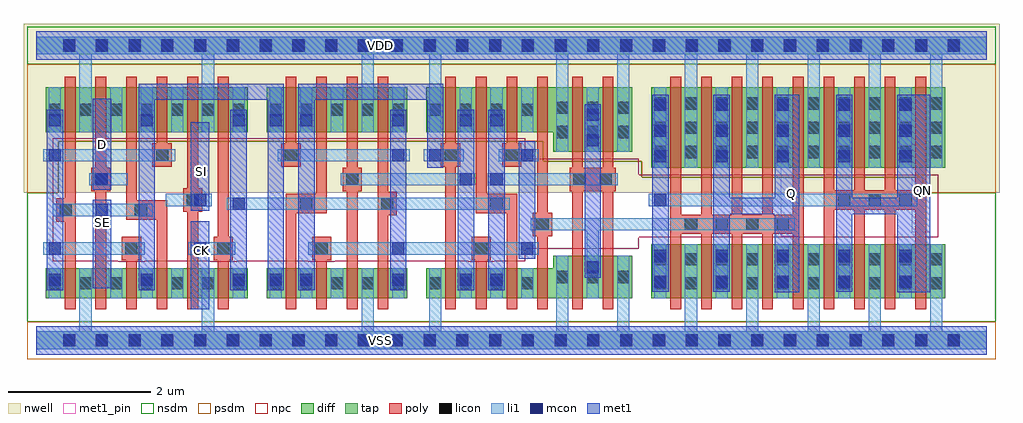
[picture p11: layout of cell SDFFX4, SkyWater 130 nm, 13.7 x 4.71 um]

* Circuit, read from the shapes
.subckt SDFFX4 CK D Q QN SE SI VDD VSS
XM1 VSS SE n1 VSS sky130_fd_pr__nfet_01v8 w=0.425 l=0.15
XM2 n2 D VSS VSS sky130_fd_pr__nfet_01v8 w=0.425 l=0.15
XM3 n3 n1 n2 VSS sky130_fd_pr__nfet_01v8 w=0.425 l=0.15
XM4 n4 SE n3 VSS sky130_fd_pr__nfet_01v8 w=0.425 l=0.15
XM5 VSS SI n4 VSS sky130_fd_pr__nfet_01v8 w=0.425 l=0.15
XM6 n5 CK VSS VSS sky130_fd_pr__nfet_01v8 w=0.425 l=0.15
XM7 n6 n5 n3 VSS sky130_fd_pr__nfet_01v8 w=0.425 l=0.15
XM8 n7 n8 n6 VSS sky130_fd_pr__nfet_01v8 w=0.425 l=0.15
XM9 VSS n9 n7 VSS sky130_fd_pr__nfet_01v8 w=0.425 l=0.15
XM10 n8 n5 VSS VSS sky130_fd_pr__nfet_01v8 w=0.425 l=0.15
XM11 n9 n6 VSS VSS sky130_fd_pr__nfet_01v8 w=0.425 l=0.15
XM12 n10 n8 n9 VSS sky130_fd_pr__nfet_01v8 w=0.425 l=0.15
XM13 n11 n5 n10 VSS sky130_fd_pr__nfet_01v8 w=0.425 l=0.15
XM14 VSS n12 n11 VSS sky130_fd_pr__nfet_01v8 w=0.425 l=0.15
XM15 n12 n10 VSS VSS sky130_fd_pr__nfet_01v8 w=0.6 l=0.15 m=2
XM16 VSS n12 n13 VSS sky130_fd_pr__nfet_01v8 w=0.76 l=0.15
XM17 Q n12 VSS VSS sky130_fd_pr__nfet_01v8 w=0.76 l=0.15 m=4
XM18 QN n13 VSS VSS sky130_fd_pr__nfet_01v8 w=0.76 l=0.15 m=4
XM19 VDD SE n1 VDD sky130_fd_pr__pfet_01v8 w=0.625 l=0.15
XM20 n14 D VDD VDD sky130_fd_pr__pfet_01v8 w=0.625 l=0.15
XM21 n3 SE n14 VDD sky130_fd_pr__pfet_01v8 w=0.625 l=0.15
XM22 n15 n1 n3 VDD sky130_fd_pr__pfet_01v8 w=0.625 l=0.15
XM23 VDD SI n15 VDD sky130_fd_pr__pfet_01v8 w=0.625 l=0.15
XM24 n5 CK VDD VDD sky130_fd_pr__pfet_01v8 w=0.625 l=0.15
XM25 n6 n8 n3 VDD sky130_fd_pr__pfet_01v8 w=0.625 l=0.15
XM26 n16 n5 n6 VDD sky130_fd_pr__pfet_01v8 w=0.625 l=0.15
XM27 VDD n9 n16 VDD sky130_fd_pr__pfet_01v8 w=0.625 l=0.15
XM28 n8 n5 VDD VDD sky130_fd_pr__pfet_01v8 w=0.625 l=0.15
XM29 n9 n6 VDD VDD sky130_fd_pr__pfet_01v8 w=0.625 l=0.15
XM30 n10 n5 n9 VDD sky130_fd_pr__pfet_01v8 w=0.625 l=0.15
XM31 n17 n8 n10 VDD sky130_fd_pr__pfet_01v8 w=0.625 l=0.15
XM32 VDD n12 n17 VDD sky130_fd_pr__pfet_01v8 w=0.625 l=0.15
XM33 n12 n10 VDD VDD sky130_fd_pr__pfet_01v8 w=0.905 l=0.15 m=2
XM34 VDD n12 n13 VDD sky130_fd_pr__pfet_01v8 w=1.13 l=0.15
XM35 Q n12 VDD VDD sky130_fd_pr__pfet_01v8 w=1.13 l=0.15 m=4
XM36 QN n13 VDD VDD sky130_fd_pr__pfet_01v8 w=1.13 l=0.15 m=4
.ends

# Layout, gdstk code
from math import pi, radians
import gdstk
lib = gdstk.Library(unit=1e-6, precision=1e-09)
def R(c, l, rs):  # rectangles x0, y0, x1, y1
    for r in rs: c.add(gdstk.rectangle(r[:2], r[2:], *l))
def A(c, l, x, y, w, h, nx, ny, dx, dy):  # array of equal rectangles
    R(c, l, [(x+i*dx, y+j*dy, x+i*dx+w, y+j*dy+h) for i in range(nx) for j in range(ny)])
def P(c, l, *ps):  # polygons
    for p in ps: c.add(gdstk.Polygon(p, *l))
nwell = (64, 20)
diff = (65, 20)
tap = (65, 44)
poly = (66, 20)
licon = (66, 44)
li1 = (67, 20)
mcon = (67, 44)
met1_pin = (68, 16)
met1 = (68, 20)
nsdm = (93, 44)
psdm = (94, 20)
npc = (95, 20)

pyl1con_c_cdns_758728262 = lib.new_cell('PYL1CON_C_CDNS_758728262102')
R(pyl1con_c_cdns_758728262, poly, [(-0.135,-0.165,0.135,0.165)])
R(pyl1con_c_cdns_758728262, licon, [(-0.085,-0.085,0.085,0.085)])
R(pyl1con_c_cdns_758728262, npc, [(-0.185,-0.185,0.185,0.185)])

l1m1_c_cdns_758728262101 = lib.new_cell('L1M1_C_CDNS_7587282621012')
R(l1m1_c_cdns_758728262101, li1, [(-0.085,-0.525,0.085,0.525)])
A(l1m1_c_cdns_758728262101, mcon, -0.085, -0.445, 0.17, 0.17, 1, 3, 0, 0.36)
R(l1m1_c_cdns_758728262101, met1, [(-0.115,-0.505,0.115,0.505)])

c_l1m1_c_cdns_758728262101 = lib.new_cell('L1M1_C_CDNS_758728262101')
R(c_l1m1_c_cdns_758728262101, li1, [(-0.085,-0.165,0.085,0.165)])
R(c_l1m1_c_cdns_758728262101, mcon, [(-0.085,-0.085,0.085,0.085)])
R(c_l1m1_c_cdns_758728262101, met1, [(-0.115,-0.145,0.115,0.145)])

l1m1_c_cdns_758728262104 = lib.new_cell('L1M1_C_CDNS_758728262104')
R(l1m1_c_cdns_758728262104, li1, [(-0.085,-0.345,0.085,0.345)])
R(l1m1_c_cdns_758728262104, mcon, [(-0.085,-0.265,0.085,-0.095), (-0.085,0.095,0.085,0.265)])
R(l1m1_c_cdns_758728262104, met1, [(-0.115,-0.325,0.115,0.325)])

l1m1_c_cdns_758728262100 = lib.new_cell('L1M1_C_CDNS_758728262100')
R(l1m1_c_cdns_758728262100, li1, [(-0.165,-0.085,0.165,0.085)])
R(l1m1_c_cdns_758728262100, mcon, [(-0.085,-0.085,0.085,0.085)])
R(l1m1_c_cdns_758728262100, met1, [(-0.115,-0.145,0.115,0.145)])

licondiff_c_cdns_7587282 = lib.new_cell('LICONDIFF_C_CDNS_7587282621010')
R(licondiff_c_cdns_7587282, diff, [(-0.125,-0.145,0.125,0.145)])
R(licondiff_c_cdns_7587282, licon, [(-0.085,-0.085,0.085,0.085), (-0.085,-0.085,0.085,0.085)])

c_pyl1con_c_cdns_758728262 = lib.new_cell('PYL1CON_C_CDNS_7587282621017')
R(c_pyl1con_c_cdns_758728262, poly, [(-0.135,-0.29,0.135,0.29)])
R(c_pyl1con_c_cdns_758728262, licon, [(-0.085,-0.085,0.085,0.085)])
R(c_pyl1con_c_cdns_758728262, npc, [(-0.185,-0.185,0.185,0.185)])

c_l1m1_c_cdns_758728262101_ = lib.new_cell('L1M1_C_CDNS_7587282621019')
R(c_l1m1_c_cdns_758728262101_, li1, [(-0.125,-0.085,0.125,0.085)])
R(c_l1m1_c_cdns_758728262101_, mcon, [(-0.085,-0.085,0.085,0.085)])
R(c_l1m1_c_cdns_758728262101_, met1, [(-0.115,-0.145,0.115,0.145)])

c_pyl1con_c_cdns_758728262_ = lib.new_cell('PYL1CON_C_CDNS_7587282621020')
R(c_pyl1con_c_cdns_758728262_, poly, [(-0.135,-0.37,0.135,0.21)])
R(c_pyl1con_c_cdns_758728262_, licon, [(-0.085,-0.085,0.085,0.085)])
R(c_pyl1con_c_cdns_758728262_, npc, [(-0.185,-0.185,0.185,0.185)])

sdffx4 = lib.new_cell('SDFFX4')
R(sdffx4, nwell, [(-0.18,2.07,13.52,4.445)])
R(sdffx4, diff, [(0.135,0.59,2.965,1.015), (3.235,0.59,5.205,1.015), (8.635,0.59,12.755,1.35), (8.635,2.42,12.755,3.55), (0.135,2.925,2.965,3.55), (3.235,2.925,5.205,3.55)])
P(sdffx4, diff, [(8.365,3.55),(5.475,3.55),(5.475,2.925),(7.255,2.925),(7.255,2.645),(8.365,2.645)],
  [(8.365,1.19),(7.255,1.19),(7.255,1.015),(5.475,1.015),(5.475,0.59),(8.365,0.59)])
A(sdffx4, poly, 8.9, 0.44, 0.15, 3.26, 9, 1, 0.43, 0)
R(sdffx4, poly, [(0.4,0.44,0.55,3.7), (0.83,0.44,0.98,3.7), (1.26,0.44,1.41,1.165), (2.12,0.44,2.27,3.7), (2.55,0.44,2.7,3.7), (3.93,0.44,4.08,1.165), (4.36,0.44,4.51,3.7), (4.79,0.44,4.94,3.7), (5.74,0.44,5.89,3.7), (6.17,0.44,6.32,1.165), (7.03,0.44,7.18,3.7), (3.5,2.725,3.65,3.7), (6.6,2.725,6.75,3.7), (1.69,2.75,1.84,3.7)])
P(sdffx4, poly, [(1.84,1.915),(1.41,1.915),(1.41,3.7),(1.26,3.7),(1.26,1.765),(1.69,1.765),(1.69,0.44),(1.84,0.44)],
  [(4.08,3.7),(3.93,3.7),(3.93,1.995),(3.5,1.995),(3.5,0.44),(3.65,0.44),(3.65,1.845),(4.08,1.845)],
  [(6.75,1.995),(6.32,1.995),(6.32,3.7),(6.17,3.7),(6.17,1.845),(6.6,1.845),(6.6,0.44),(6.75,0.44)],
  [(8.13,2.425),(8.1,2.425),(8.1,3.7),(7.95,3.7),(7.95,2.425),(7.67,2.425),(7.67,3.7),(7.52,3.7),(7.52,2.425),(7.49,2.425),(7.49,2.095),(7.52,2.095),(7.52,0.44),(7.67,0.44),(7.67,2.095),(7.95,2.095),(7.95,0.44),(8.1,0.44),(8.1,2.095),(8.13,2.095)])
A(sdffx4, licon, 0.375, -0.085, 0.17, 0.17, 28, 2, 0.46, 4.14)
A(sdffx4, licon, 0.605, 0.715, 0.17, 0.17, 3, 2, 0.86, 2.435)
A(sdffx4, licon, 5.515, 0.715, 0.17, 0.17, 3, 2, 0.43, 2.435)
A(sdffx4, licon, 8.675, 0.715, 0.17, 0.17, 10, 2, 0.43, 0.34)
A(sdffx4, licon, 7.295, 0.805, 0.17, 0.17, 3, 2, 0.43, 2.035)
A(sdffx4, licon, 8.675, 2.56, 0.17, 0.17, 10, 3, 0.43, 0.34)
A(sdffx4, licon, 7.295, 3.18, 0.17, 0.17, 3, 1, 0.43, 0)
R(sdffx4, licon, [(0.175,0.715,0.345,0.885), (2.755,0.715,2.925,0.885), (3.275,0.715,3.445,0.885), (3.705,0.715,3.875,0.885), (4.565,0.715,4.735,0.885), (4.995,0.715,5.165,0.885), (0.175,3.15,0.345,3.32), (2.755,3.15,2.925,3.32), (3.275,3.15,3.445,3.32), (3.705,3.15,3.875,3.32), (4.565,3.15,4.735,3.32), (4.995,3.15,5.165,3.32)])
A(sdffx4, li1, 0.175, 0.59, 0.17, 0.425, 3, 1, 1.29, 0)
A(sdffx4, li1, 8.675, 0.59, 0.17, 0.76, 5, 1, 0.86, 0)
A(sdffx4, li1, 8.675, 2.42, 0.17, 1.13, 5, 1, 0.86, 0)
A(sdffx4, li1, 0.175, 2.925, 0.17, 0.625, 3, 1, 1.29, 0)
R(sdffx4, li1, [(3.275,0.59,3.445,1.015), (3.705,0.59,3.875,1.015), (4.995,0.59,5.165,1.015), (5.945,0.59,6.115,1.015), (6.375,0.59,6.545,1.015), (7.725,2.645,7.895,3.55), (3.275,2.925,3.445,3.55), (3.705,2.925,3.875,3.55), (4.995,2.925,5.165,3.55), (5.945,2.925,6.115,3.55), (6.375,2.925,6.545,3.55)])
P(sdffx4, li1, [(10.645,1.715),(6.94,1.715),(6.94,1.545),(7.725,1.545),(7.725,0.59),(7.895,0.59),(7.895,1.545),(10.645,1.545)],
  [(13.34,4.265),(0,4.265),(0,4.015),(0.605,4.015),(0.605,2.925),(0.775,2.925),(0.775,4.015),(2.325,4.015),(2.325,2.925),(2.495,2.925),(2.495,4.015),(4.565,4.015),(4.565,2.925),(4.735,2.925),(4.735,4.015),(5.515,4.015),(5.515,2.925),(5.685,2.925),(5.685,4.015),(7.295,4.015),(7.295,2.645),(7.465,2.645),(7.465,4.015),(8.155,4.015),(8.155,2.645),(8.325,2.645),(8.325,4.015),(9.105,4.015),(9.105,2.42),(9.275,2.42),(9.275,4.015),(9.965,4.015),(9.965,2.42),(10.135,2.42),(10.135,4.015),(10.825,4.015),(10.825,2.42),(10.995,2.42),(10.995,4.015),(11.685,4.015),(11.685,2.42),(11.855,2.42),(11.855,4.015),(12.545,4.015),(12.545,2.42),(12.715,2.42),(12.715,4.015),(13.34,4.015)],
  [(13.34,0.125),(12.715,0.125),(12.715,1.35),(12.545,1.35),(12.545,0.125),(11.855,0.125),(11.855,1.35),(11.685,1.35),(11.685,0.125),(10.995,0.125),(10.995,1.35),(10.825,1.35),(10.825,0.125),(10.135,0.125),(10.135,1.35),(9.965,1.35),(9.965,0.125),(9.275,0.125),(9.275,1.35),(9.105,1.35),(9.105,0.125),(8.325,0.125),(8.325,1.19),(8.155,1.19),(8.155,0.125),(7.465,0.125),(7.465,1.19),(7.295,1.19),(7.295,0.125),(5.685,0.125),(5.685,1.015),(5.515,1.015),(5.515,0.125),(4.735,0.125),(4.735,1.015),(4.565,1.015),(4.565,0.125),(2.495,0.125),(2.495,1.015),(2.325,1.015),(2.325,0.125),(0.775,0.125),(0.775,1.015),(0.605,1.015),(0.605,0.125),(0,0.125),(0,-0.125),(13.34,-0.125)])
A(sdffx4, mcon, 0.375, -0.085, 0.17, 0.17, 28, 2, 0.46, 4.14)
R(sdffx4, met1_pin, [(2.17,0.435,2.43,1.675), (0.79,0.745,1.05,1.975), (10.45,1.465,10.71,2.705), (12.29,1.515,12.55,2.755), (2.17,1.82,2.43,3.06), (0.79,2.15,1.05,3.39)])
P(sdffx4, met1, [(10.71,3.45),(10.365,3.45),(10.365,2),(9.735,2),(9.735,3.45),(9.505,3.45),(9.505,0.68),(9.735,0.68),(9.735,1.77),(10.365,1.77),(10.365,0.675),(10.71,0.675)],
  [(12.55,3.45),(12.085,3.45),(12.085,2),(11.455,2),(11.455,3.45),(11.225,3.45),(11.225,0.68),(11.455,0.68),(11.455,1.77),(12.085,1.77),(12.085,0.675),(12.55,0.675)])
R(sdffx4, nsdm, [(-0.125,3.875,13.465,4.405)])
P(sdffx4, nsdm, [(13.465,2.07),(12.44,2.07),(12.44,2.29),(8.495,2.29),(8.495,2.515),(7.115,2.515),(7.115,2.795),(0.31,2.795),(0.31,2.07),(-0.125,2.07),(-0.125,0.265),(13.465,0.265)])
R(sdffx4, psdm, [(-0.125,-0.265,13.465,0.265)])
P(sdffx4, psdm, [(13.465,3.875),(-0.125,3.875),(-0.125,2.07),(0.31,2.07),(0.31,2.795),(7.115,2.795),(7.115,2.515),(8.495,2.515),(8.495,2.29),(12.44,2.29),(12.44,2.07),(13.465,2.07)])
P(sdffx4, npc, [(12.66,2.325),(8.455,2.325),(8.455,2.55),(6.86,2.55),(6.86,2.835),(0.23,2.835),(0.23,1.11),(6.86,1.11),(6.86,1.285),(8.455,1.285),(8.455,1.445),(12.66,1.445)])
sdffx4.add(gdstk.FlexPath([(5.435,2.6),(6,2.6)], 0.17, ends="flush", simple_path=True, layer=67, datatype=20))  # li1
sdffx4.add(gdstk.FlexPath([(3.39,2.6),(5.245,2.6)], 0.17, ends="flush", simple_path=True, layer=67, datatype=20))  # li1
sdffx4.add(gdstk.FlexPath([(6.155,2.26),(4.27,2.26)], 0.17, ends="flush", simple_path=True, layer=67, datatype=20))  # li1
sdffx4.add(gdstk.FlexPath([(0.095,1.29),(1.52,1.29)], 0.17, ends="flush", simple_path=True, layer=67, datatype=20))  # li1
sdffx4.add(gdstk.FlexPath([(4.22,2.925),(4.22,3.55)], 0.17, ends="flush", simple_path=True, layer=67, datatype=20))  # li1
sdffx4.add(gdstk.FlexPath([(4.22,0.59),(4.22,1.015)], 0.17, ends="flush", simple_path=True, layer=67, datatype=20))  # li1
sdffx4.add(gdstk.FlexPath([(2.36,1.97),(1.815,1.97)], 0.17, ends="flush", simple_path=True, layer=67, datatype=20))  # li1
sdffx4.add(gdstk.FlexPath([(2.79,1.29),(2.245,1.29)], 0.17, ends="flush", simple_path=True, layer=67, datatype=20))  # li1
sdffx4.add(gdstk.FlexPath([(2.675,1.92),(6.645,1.92)], 0.17, ends="flush", simple_path=True, layer=67, datatype=20))  # li1
sdffx4.add(gdstk.FlexPath([(6.89,0.59),(6.89,1.015)], 0.17, ends="flush", simple_path=True, layer=67, datatype=20))  # li1
sdffx4.add(gdstk.FlexPath([(6.89,2.925),(6.89,3.55)], 0.17, ends="flush", simple_path=True, layer=67, datatype=20))  # li1
sdffx4.add(gdstk.FlexPath([(6.49,2.6),(7.055,2.6)], 0.17, ends="flush", simple_path=True, layer=67, datatype=20))  # li1
sdffx4.add(gdstk.FlexPath([(0.095,2.6),(1.95,2.6)], 0.17, ends="flush", simple_path=True, layer=67, datatype=20))  # li1
sdffx4.add(gdstk.FlexPath([(1.12,2.925),(1.12,3.55)], 0.17, ends="flush", simple_path=True, layer=67, datatype=20))  # li1
sdffx4.add(gdstk.FlexPath([(1.98,2.925),(1.98,3.55)], 0.17, ends="flush", simple_path=True, layer=67, datatype=20))  # li1
sdffx4.add(gdstk.FlexPath([(6.335,2.26),(8.16,2.26)], 0.17, ends="flush", simple_path=True, layer=67, datatype=20))  # li1
sdffx4.add(gdstk.FlexPath([(0.23,1.83),(1.635,1.83)], 0.17, ends="flush", simple_path=True, layer=67, datatype=20))  # li1
sdffx4.add(gdstk.FlexPath([(3.82,1.29),(7.055,1.29)], 0.17, ends="flush", simple_path=True, layer=67, datatype=20))  # li1
sdffx4.add(gdstk.FlexPath([(8.76,1.97),(12.365,1.97)], 0.17, ends="flush", simple_path=True, layer=67, datatype=20))  # li1
sdffx4.add(gdstk.FlexPath([(1.12,0.59),(1.12,1.015)], 0.17, ends="flush", simple_path=True, layer=67, datatype=20))  # li1
sdffx4.add(gdstk.FlexPath([(1.98,0.59),(1.98,1.015)], 0.17, ends="flush", simple_path=True, layer=67, datatype=20))  # li1
sdffx4.add(gdstk.FlexPath([(1.285,2.26),(0.74,2.26)], 0.17, ends="flush", simple_path=True, layer=67, datatype=20))  # li1
sdffx4.add(gdstk.FlexPath([(6.89,1.145),(6.89,2.795)], 0.23, ends="flush", simple_path=True, layer=68, datatype=20))  # met1
sdffx4.add(gdstk.FlexPath([(3.79,0.705),(3.79,3.49),(5.6,3.49),(5.6,2.425)], 0.23, ends="flush", simple_path=True, layer=68, datatype=20))  # met1
sdffx4.add(gdstk.FlexPath([(1.55,0.705),(1.55,3.49),(3.36,3.49),(3.36,0.705)], 0.23, ends="flush", simple_path=True, layer=68, datatype=20))  # met1
sdffx4.add(gdstk.FlexPath([(0.26,0.705),(0.26,3.235)], 0.23, ends="flush", simple_path=True, layer=68, datatype=20))  # met1
sdffx4.add(gdstk.FlexPath([(5.08,0.705),(5.08,3.235)], 0.23, ends="flush", simple_path=True, layer=68, datatype=20))  # met1
sdffx4.add(gdstk.FlexPath([(2.84,0.705),(2.84,3.235)], 0.23, ends="flush", simple_path=True, layer=68, datatype=20))  # met1
sdffx4.add(gdstk.FlexPath([(2.3,1.82),(2.3,3.06)], 0.26, ends="flush", simple_path=True, layer=68, datatype=20))  # met1
sdffx4.add(gdstk.FlexPath([(0,0),(13.34,0)], 0.4, ends="flush", simple_path=True, layer=68, datatype=20))  # met1
sdffx4.add(gdstk.FlexPath([(0.92,2.115),(0.92,3.39)], 0.26, ends="flush", simple_path=True, layer=68, datatype=20))  # met1
sdffx4.add(gdstk.FlexPath([(6.46,0.705),(6.46,3.235)], 0.23, ends="flush", simple_path=True, layer=68, datatype=20))  # met1
sdffx4.add(gdstk.FlexPath([(8.76,0.68),(8.76,3.45)], 0.23, ends="flush", simple_path=True, layer=68, datatype=20))  # met1
sdffx4.add(gdstk.FlexPath([(7.81,0.88),(7.81,3.315)], 0.23, ends="flush", simple_path=True, layer=68, datatype=20))  # met1
sdffx4.add(gdstk.FlexPath([(2.3,0.435),(2.3,1.675)], 0.26, ends="flush", simple_path=True, layer=68, datatype=20))  # met1
sdffx4.add(gdstk.FlexPath([(0.92,0.735),(0.92,1.975)], 0.26, ends="flush", simple_path=True, layer=68, datatype=20))  # met1
sdffx4.add(gdstk.FlexPath([(6.03,0.705),(6.03,3.235)], 0.23, ends="flush", simple_path=True, layer=68, datatype=20))  # met1
sdffx4.add(gdstk.FlexPath([(0,4.14),(13.34,4.14)], 0.4, ends="flush", simple_path=True, layer=68, datatype=20))  # met1
sdffx4.add(gdstk.FlexPath([(0,4.14),(13.34,4.14)], 0.4, ends="flush", simple_path=True, layer=68, datatype=16))  # met1_pin
sdffx4.add(gdstk.FlexPath([(0,0),(13.34,0)], 0.4, ends="flush", simple_path=True, layer=68, datatype=16))  # met1_pin
sdffx4.add(gdstk.FlexPath([(0,4.14),(13.34,4.14)], 0.25, ends="flush", simple_path=True, layer=65, datatype=44))  # tap
sdffx4.add(gdstk.FlexPath([(0,0),(13.34,0)], 0.25, ends="flush", simple_path=True, layer=65, datatype=44))  # tap
sdffx4.add(gdstk.Reference(pyl1con_c_cdns_758728262, (5.815,2.6), rotation=pi))
sdffx4.add(gdstk.Reference(pyl1con_c_cdns_758728262, (7.105,1.63), rotation=pi, x_reflection=True))
sdffx4.add(gdstk.Reference(pyl1con_c_cdns_758728262, (4.925,1.92), rotation=pi))
sdffx4.add(gdstk.Reference(pyl1con_c_cdns_758728262, (2.625,1.29), x_reflection=True))
sdffx4.add(gdstk.Reference(pyl1con_c_cdns_758728262, (2.195,1.97), x_reflection=True))
sdffx4.add(gdstk.Reference(pyl1con_c_cdns_758728262, (1.765,2.6), rotation=pi))
sdffx4.add(gdstk.Reference(pyl1con_c_cdns_758728262, (1.335,1.29), x_reflection=True))
sdffx4.add(gdstk.Reference(pyl1con_c_cdns_758728262, (4.005,1.29), rotation=pi))
sdffx4.add(gdstk.Reference(pyl1con_c_cdns_758728262, (3.575,2.6), x_reflection=True))
sdffx4.add(gdstk.Reference(pyl1con_c_cdns_758728262, (6.675,2.6), rotation=pi))
sdffx4.add(gdstk.Reference(pyl1con_c_cdns_758728262, (6.245,1.29), x_reflection=True))
sdffx4.add(gdstk.Reference(pyl1con_c_cdns_758728262, (11.34,1.97), rotation=3*pi/2, x_reflection=True))
sdffx4.add(gdstk.Reference(pyl1con_c_cdns_758728262, (11.77,1.97), rotation=3*pi/2, x_reflection=True))
sdffx4.add(gdstk.Reference(pyl1con_c_cdns_758728262, (10.48,1.63), rotation=3*pi/2, x_reflection=True))
sdffx4.add(gdstk.Reference(pyl1con_c_cdns_758728262, (10.05,1.63), rotation=3*pi/2, x_reflection=True))
sdffx4.add(gdstk.Reference(pyl1con_c_cdns_758728262, (9.62,1.63), rotation=3*pi/2, x_reflection=True))
sdffx4.add(gdstk.Reference(pyl1con_c_cdns_758728262, (12.2,1.97), rotation=3*pi/2, x_reflection=True))
sdffx4.add(gdstk.Reference(pyl1con_c_cdns_758728262, (0.415,1.83)))
sdffx4.add(gdstk.Reference(pyl1con_c_cdns_758728262, (4.435,2.26)))
sdffx4.add(gdstk.Reference(pyl1con_c_cdns_758728262, (7.995,2.26), rotation=pi, x_reflection=True))
sdffx4.add(gdstk.Reference(pyl1con_c_cdns_758728262, (7.625,2.26), rotation=pi, x_reflection=True))
sdffx4.add(gdstk.Reference(pyl1con_c_cdns_758728262, (0.905,2.26)))
sdffx4.add(gdstk.Reference(pyl1con_c_cdns_758728262, (9.19,1.63), rotation=3*pi/2, x_reflection=True))
sdffx4.add(gdstk.Reference(l1m1_c_cdns_758728262101, (11.34,2.945)))
sdffx4.add(gdstk.Reference(l1m1_c_cdns_758728262101, (12.2,2.945)))
sdffx4.add(gdstk.Reference(l1m1_c_cdns_758728262101, (8.76,2.945)))
sdffx4.add(gdstk.Reference(l1m1_c_cdns_758728262101, (10.48,2.945)))
sdffx4.add(gdstk.Reference(l1m1_c_cdns_758728262101, (9.62,2.945)))
sdffx4.add(gdstk.Reference(c_l1m1_c_cdns_758728262101, (3.36,3.09)))
sdffx4.add(gdstk.Reference(c_l1m1_c_cdns_758728262101, (3.36,0.85)))
sdffx4.add(gdstk.Reference(c_l1m1_c_cdns_758728262101, (1.55,3.09)))
sdffx4.add(gdstk.Reference(c_l1m1_c_cdns_758728262101, (1.55,0.85)))
sdffx4.add(gdstk.Reference(c_l1m1_c_cdns_758728262101, (0.26,3.09)))
sdffx4.add(gdstk.Reference(c_l1m1_c_cdns_758728262101, (0.26,0.85)))
sdffx4.add(gdstk.Reference(c_l1m1_c_cdns_758728262101, (5.08,0.85), rotation=pi, x_reflection=True))
sdffx4.add(gdstk.Reference(c_l1m1_c_cdns_758728262101, (5.08,3.09), rotation=pi, x_reflection=True))
sdffx4.add(gdstk.Reference(c_l1m1_c_cdns_758728262101, (2.84,0.85)))
sdffx4.add(gdstk.Reference(c_l1m1_c_cdns_758728262101, (2.84,3.09)))
sdffx4.add(gdstk.Reference(c_l1m1_c_cdns_758728262101, (3.79,3.09)))
sdffx4.add(gdstk.Reference(c_l1m1_c_cdns_758728262101, (3.79,0.85)))
sdffx4.add(gdstk.Reference(c_l1m1_c_cdns_758728262101, (6.03,0.85)))
sdffx4.add(gdstk.Reference(c_l1m1_c_cdns_758728262101, (6.03,3.09)))
sdffx4.add(gdstk.Reference(c_l1m1_c_cdns_758728262101, (6.46,0.85), rotation=pi, x_reflection=True))
sdffx4.add(gdstk.Reference(c_l1m1_c_cdns_758728262101, (6.46,3.09), rotation=pi, x_reflection=True))
sdffx4.add(gdstk.Reference(c_l1m1_c_cdns_758728262101, (7.81,1.025), rotation=pi, x_reflection=True))
sdffx4.add(gdstk.Reference(l1m1_c_cdns_758728262104, (7.81,2.99), rotation=pi, x_reflection=True))
sdffx4.add(gdstk.Reference(l1m1_c_cdns_758728262104, (11.34,1.005)))
sdffx4.add(gdstk.Reference(l1m1_c_cdns_758728262104, (12.2,1.005)))
sdffx4.add(gdstk.Reference(l1m1_c_cdns_758728262104, (10.48,1.005)))
sdffx4.add(gdstk.Reference(l1m1_c_cdns_758728262104, (9.62,1.005)))
sdffx4.add(gdstk.Reference(l1m1_c_cdns_758728262104, (8.76,1.005)))
sdffx4.add(gdstk.Reference(l1m1_c_cdns_758728262100, (5.6,2.6)))
sdffx4.add(gdstk.Reference(l1m1_c_cdns_758728262100, (6.89,2.6)))
sdffx4.add(gdstk.Reference(l1m1_c_cdns_758728262100, (6.89,1.29)))
sdffx4.add(gdstk.Reference(l1m1_c_cdns_758728262100, (2.3,1.97), x_reflection=True))
sdffx4.add(gdstk.Reference(l1m1_c_cdns_758728262100, (2.3,1.29), x_reflection=True))
sdffx4.add(gdstk.Reference(l1m1_c_cdns_758728262100, (2.84,1.92)))
sdffx4.add(gdstk.Reference(l1m1_c_cdns_758728262100, (5.08,2.6), rotation=pi, x_reflection=True))
sdffx4.add(gdstk.Reference(l1m1_c_cdns_758728262100, (5.08,1.29), rotation=pi, x_reflection=True))
sdffx4.add(gdstk.Reference(l1m1_c_cdns_758728262100, (0.92,1.83), x_reflection=True))
sdffx4.add(gdstk.Reference(l1m1_c_cdns_758728262100, (0.92,2.26), x_reflection=True))
sdffx4.add(gdstk.Reference(l1m1_c_cdns_758728262100, (8.76,1.97)))
sdffx4.add(gdstk.Reference(l1m1_c_cdns_758728262100, (0.26,1.29)))
sdffx4.add(gdstk.Reference(l1m1_c_cdns_758728262100, (0.26,2.6)))
sdffx4.add(gdstk.Reference(licondiff_c_cdns_7587282, (4.22,3.235)))
sdffx4.add(gdstk.Reference(licondiff_c_cdns_7587282, (4.22,0.8)))
sdffx4.add(gdstk.Reference(licondiff_c_cdns_7587282, (6.89,3.235)))
sdffx4.add(gdstk.Reference(licondiff_c_cdns_7587282, (6.89,0.8)))
sdffx4.add(gdstk.Reference(licondiff_c_cdns_7587282, (1.98,0.8)))
sdffx4.add(gdstk.Reference(licondiff_c_cdns_7587282, (1.12,0.8)))
sdffx4.add(gdstk.Reference(licondiff_c_cdns_7587282, (1.98,3.235)))
sdffx4.add(gdstk.Reference(licondiff_c_cdns_7587282, (1.12,3.235)))
sdffx4.add(gdstk.Reference(c_pyl1con_c_cdns_758728262, (3.79,1.92), rotation=pi/2, x_reflection=True))
sdffx4.add(gdstk.Reference(c_pyl1con_c_cdns_758728262, (6.46,1.92), rotation=pi/2))
sdffx4.add(gdstk.Reference(c_l1m1_c_cdns_758728262101_, (6.03,2.26), rotation=pi, x_reflection=True))
sdffx4.add(gdstk.Reference(c_l1m1_c_cdns_758728262101_, (6.46,2.26), rotation=pi, x_reflection=True))
sdffx4.add(gdstk.Reference(c_pyl1con_c_cdns_758728262_, (1.47,1.83), rotation=pi/2))
sdffx4.add(gdstk.Label('SE', (0.935,1.65), layer=68, texttype=5))
sdffx4.add(gdstk.Label('SI', (2.315,2.375), layer=68, texttype=5))
sdffx4.add(gdstk.Label('D', (0.935,2.745), layer=68, texttype=5))
sdffx4.add(gdstk.Label('Q', (10.595,2.06), layer=68, texttype=5))
sdffx4.add(gdstk.Label('QN', (12.435,2.11), layer=68, texttype=5))
sdffx4.add(gdstk.Label('CK', (2.315,1.265), layer=68, texttype=5))
sdffx4.add(gdstk.Label('VDD', (4.825,4.145), layer=68, texttype=5))
sdffx4.add(gdstk.Label('VSS', (4.825,0.005), layer=68, texttype=5))

lib.write_gds('SDFFX4.gds')
